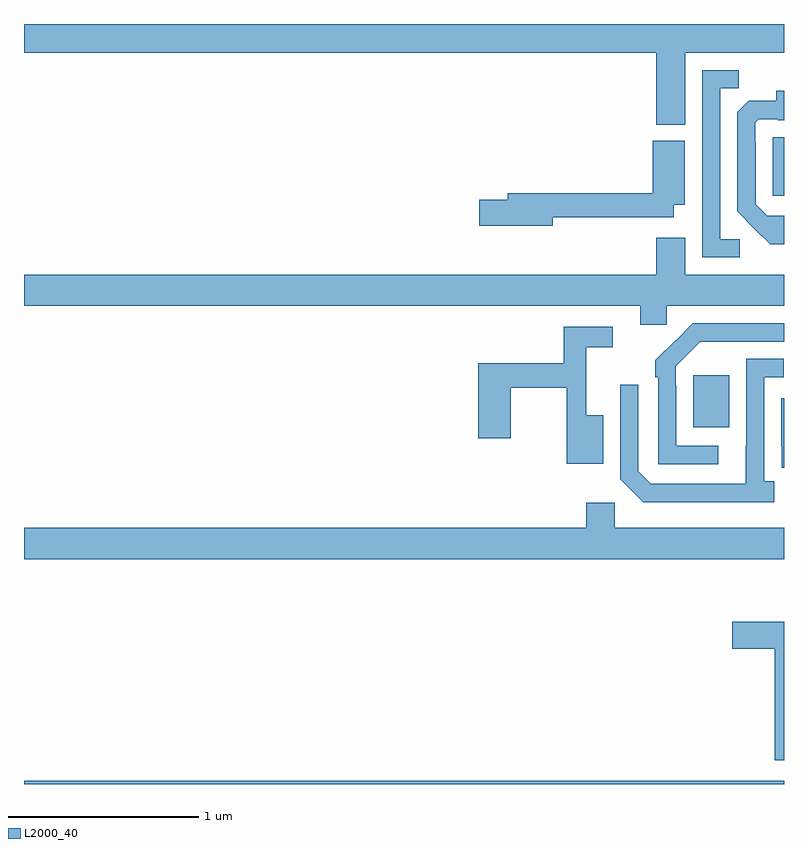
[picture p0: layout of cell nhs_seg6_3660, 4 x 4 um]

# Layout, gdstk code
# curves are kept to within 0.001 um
import gdstk
lib = gdstk.Library(unit=1e-6, precision=1e-09)
def R(c, l, rs):  # rectangles x0, y0, x1, y1
    for r in rs: c.add(gdstk.rectangle(r[:2], r[2:], *l))
def P(c, l, *ps):  # polygons
    for p in ps: c.add(gdstk.Polygon(p, *l))
L2000_40 = (2000, 40)

nhs_seg6_3660 = lib.new_cell('nhs_seg6_3660')
R(nhs_seg6_3660, L2000_40, [(325,931.5,329,931.516), (328.523,933.377,328.711,933.652), (328.941,934.596,329,934.905)])
P(nhs_seg6_3660, L2000_40, [(328.48,935.348),(329,935.348),(329,935.5),(325,935.5),(325,935.348),(328.328,935.348),(328.328,934.97),(328.48,934.97)],
  [(328.768,934.368),(328.665,934.368),(328.665,935.161),(328.761,935.161),(328.761,935.256),(328.569,935.256),(328.569,934.272),(328.768,934.272)],
  [(329,934.491),(328.911,934.491),(328.851,934.551),(328.851,934.88),(328.848,934.88),(328.848,934.98),(328.866,934.998),(328.966,934.998),(328.966,934.994),(329,934.994),(329,935.149),(328.958,935.149),(328.958,935.095),(328.814,935.095),(328.755,935.036),(328.755,934.514),(328.927,934.34),(329,934.34)],
  [(327.784,934.482),(328.42,934.482),(328.42,934.55),(328.477,934.55),(328.477,934.885),(328.31,934.885),(328.31,934.61),(327.545,934.61),(327.545,934.574),(327.396,934.574),(327.396,934.439),(327.784,934.439)],
  [(328.383,934.016),(329,934.016),(329,934.18),(328.48,934.18),(328.48,934.375),(328.328,934.375),(328.328,934.18),(325,934.18),(325,934.016),(328.244,934.016),(328.244,933.918),(328.383,933.918)],
  [(328.654,933.279),(328.434,933.279),(328.434,933.599),(328.431,933.599),(328.431,933.699),(328.56,933.828),(329,933.828),(329,933.924),(328.52,933.924),(328.323,933.729),(328.323,933.641),(328.338,933.641),(328.338,933.183),(328.654,933.183)],
  [(328.048,933.442),(327.959,933.442),(327.959,933.798),(328.099,933.798),(328.099,933.906),(327.841,933.906),(327.841,933.715),(327.392,933.715),(327.392,933.321),(327.562,933.321),(327.562,933.586),(327.856,933.586),(327.856,933.185),(328.048,933.185)],
  [(328.948,933.094),(328.896,933.094),(328.896,933.642),(328.999,933.642),(328.999,933.738),(328.8,933.738),(328.799,933.081),(328.299,933.081),(328.233,933.147),(328.233,933.601),(328.137,933.601),(328.137,933.105),(328.258,932.984),(328.948,932.984)],
  [(329,933.529),(328.986,933.529),(328.986,933.274),(328.987,933.274),(328.987,933.165),(329,933.165)],
  [(329,932.848),(328.11,932.848),(328.11,932.98),(327.959,932.98),(327.959,932.848),(325,932.848),(325,932.684),(329,932.684)],
  [(329,932.355),(328.728,932.355),(328.728,932.213),(328.951,932.213),(328.951,931.626),(329,931.626)])

lib.write_gds('nhs_seg6_3660.gds')
